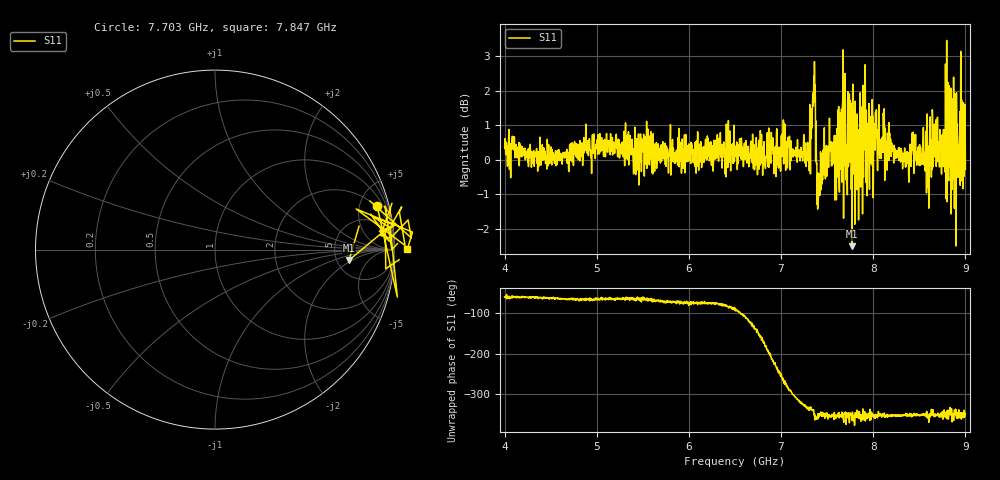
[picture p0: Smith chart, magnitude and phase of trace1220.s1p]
! Created with skrf 1.8.0 (http://scikit-rf.org).
# Hz S RI R 50.0
!freq ReS11 ImS11
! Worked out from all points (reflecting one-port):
!   1601 points, 4 GHz to 9 GHz, reference 50 ohm
!   lowest |S11| = -2.5 dB at 7.769 GHz (marker M1), VSWR 6.99, Z = 326 - j86.6 ohm
!   phase of S11 starts at -60 deg and turns -289 deg over the sweep
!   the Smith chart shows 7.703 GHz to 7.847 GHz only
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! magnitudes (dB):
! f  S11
! 4 GHz  0.4
! 4.625 GHz  -0.1
! 5.25 GHz  0.1
! 5.875 GHz  0.2
! 6.5 GHz  0.3
! 6.816 GHz  0.5
! 7.022 GHz  0.8
! 7.125 GHz  0.2
! 7.294 GHz  0.0
! 7.347 GHz  1.8
! 7.362 GHz  2.8
! 7.409 GHz  -0.9
! 7.509 GHz  -0.1
! 7.609 GHz  0.4
! 7.669 GHz  1.7
! 7.75 GHz  -0.1
! 7.769 GHz  -2.5
! 7.891 GHz  -0.1
! 7.981 GHz  0.0
! 8.038 GHz  0.9
! 8.375 GHz  0.0
! 8.612 GHz  0.5
! 8.666 GHz  0.7
! 8.766 GHz  0.5
! 8.822 GHz  2.1
! 8.906 GHz  0.9
! 8.972 GHz  0.5
! 9 GHz  -0.3
